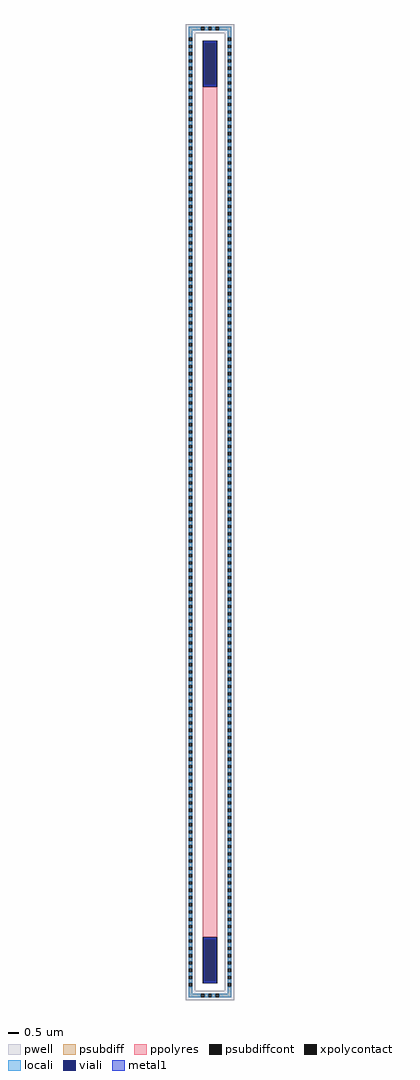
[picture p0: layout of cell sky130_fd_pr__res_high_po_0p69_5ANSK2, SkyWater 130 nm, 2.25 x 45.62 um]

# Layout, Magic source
magic
tech sky130A
magscale 1 2
<< pwell >>
rect -225 4476 225 4562
rect -225 -4476 -139 4476
rect 139 -4476 225 4476
rect -225 -4562 225 -4476
<< psubdiff >>
rect -199 4502 -85 4536
rect -51 4502 -17 4536
rect 17 4502 51 4536
rect 85 4502 199 4536
rect -199 4437 -165 4502
rect 165 4437 199 4502
rect -199 4369 -165 4403
rect -199 4301 -165 4335
rect -199 4233 -165 4267
rect -199 4165 -165 4199
rect -199 4097 -165 4131
rect -199 4029 -165 4063
rect -199 3961 -165 3995
rect -199 3893 -165 3927
rect -199 3825 -165 3859
rect -199 3757 -165 3791
rect -199 3689 -165 3723
rect -199 3621 -165 3655
rect -199 3553 -165 3587
rect -199 3485 -165 3519
rect -199 3417 -165 3451
rect -199 3349 -165 3383
rect -199 3281 -165 3315
rect -199 3213 -165 3247
rect -199 3145 -165 3179
rect -199 3077 -165 3111
rect -199 3009 -165 3043
rect -199 2941 -165 2975
rect -199 2873 -165 2907
rect -199 2805 -165 2839
rect -199 2737 -165 2771
rect -199 2669 -165 2703
rect -199 2601 -165 2635
rect -199 2533 -165 2567
rect -199 2465 -165 2499
rect -199 2397 -165 2431
rect -199 2329 -165 2363
rect -199 2261 -165 2295
rect -199 2193 -165 2227
rect -199 2125 -165 2159
rect -199 2057 -165 2091
rect -199 1989 -165 2023
rect -199 1921 -165 1955
rect -199 1853 -165 1887
rect -199 1785 -165 1819
rect -199 1717 -165 1751
rect -199 1649 -165 1683
rect -199 1581 -165 1615
rect -199 1513 -165 1547
rect -199 1445 -165 1479
rect -199 1377 -165 1411
rect -199 1309 -165 1343
rect -199 1241 -165 1275
rect -199 1173 -165 1207
rect -199 1105 -165 1139
rect -199 1037 -165 1071
rect -199 969 -165 1003
rect -199 901 -165 935
rect -199 833 -165 867
rect -199 765 -165 799
rect -199 697 -165 731
rect -199 629 -165 663
rect -199 561 -165 595
rect -199 493 -165 527
rect -199 425 -165 459
rect -199 357 -165 391
rect -199 289 -165 323
rect -199 221 -165 255
rect -199 153 -165 187
rect -199 85 -165 119
rect -199 17 -165 51
rect -199 -51 -165 -17
rect -199 -119 -165 -85
rect -199 -187 -165 -153
rect -199 -255 -165 -221
rect -199 -323 -165 -289
rect -199 -391 -165 -357
rect -199 -459 -165 -425
rect -199 -527 -165 -493
rect -199 -595 -165 -561
rect -199 -663 -165 -629
rect -199 -731 -165 -697
rect -199 -799 -165 -765
rect -199 -867 -165 -833
rect -199 -935 -165 -901
rect -199 -1003 -165 -969
rect -199 -1071 -165 -1037
rect -199 -1139 -165 -1105
rect -199 -1207 -165 -1173
rect -199 -1275 -165 -1241
rect -199 -1343 -165 -1309
rect -199 -1411 -165 -1377
rect -199 -1479 -165 -1445
rect -199 -1547 -165 -1513
rect -199 -1615 -165 -1581
rect -199 -1683 -165 -1649
rect -199 -1751 -165 -1717
rect -199 -1819 -165 -1785
rect -199 -1887 -165 -1853
rect -199 -1955 -165 -1921
rect -199 -2023 -165 -1989
rect -199 -2091 -165 -2057
rect -199 -2159 -165 -2125
rect -199 -2227 -165 -2193
rect -199 -2295 -165 -2261
rect -199 -2363 -165 -2329
rect -199 -2431 -165 -2397
rect -199 -2499 -165 -2465
rect -199 -2567 -165 -2533
rect -199 -2635 -165 -2601
rect -199 -2703 -165 -2669
rect -199 -2771 -165 -2737
rect -199 -2839 -165 -2805
rect -199 -2907 -165 -2873
rect -199 -2975 -165 -2941
rect -199 -3043 -165 -3009
rect -199 -3111 -165 -3077
rect -199 -3179 -165 -3145
rect -199 -3247 -165 -3213
rect -199 -3315 -165 -3281
rect -199 -3383 -165 -3349
rect -199 -3451 -165 -3417
rect -199 -3519 -165 -3485
rect -199 -3587 -165 -3553
rect -199 -3655 -165 -3621
rect -199 -3723 -165 -3689
rect -199 -3791 -165 -3757
rect -199 -3859 -165 -3825
rect -199 -3927 -165 -3893
rect -199 -3995 -165 -3961
rect -199 -4063 -165 -4029
rect -199 -4131 -165 -4097
rect -199 -4199 -165 -4165
rect -199 -4267 -165 -4233
rect -199 -4335 -165 -4301
rect -199 -4403 -165 -4369
rect 165 4369 199 4403
rect 165 4301 199 4335
rect 165 4233 199 4267
rect 165 4165 199 4199
rect 165 4097 199 4131
rect 165 4029 199 4063
rect 165 3961 199 3995
rect 165 3893 199 3927
rect 165 3825 199 3859
rect 165 3757 199 3791
rect 165 3689 199 3723
rect 165 3621 199 3655
rect 165 3553 199 3587
rect 165 3485 199 3519
rect 165 3417 199 3451
rect 165 3349 199 3383
rect 165 3281 199 3315
rect 165 3213 199 3247
rect 165 3145 199 3179
rect 165 3077 199 3111
rect 165 3009 199 3043
rect 165 2941 199 2975
rect 165 2873 199 2907
rect 165 2805 199 2839
rect 165 2737 199 2771
rect 165 2669 199 2703
rect 165 2601 199 2635
rect 165 2533 199 2567
rect 165 2465 199 2499
rect 165 2397 199 2431
rect 165 2329 199 2363
rect 165 2261 199 2295
rect 165 2193 199 2227
rect 165 2125 199 2159
rect 165 2057 199 2091
rect 165 1989 199 2023
rect 165 1921 199 1955
rect 165 1853 199 1887
rect 165 1785 199 1819
rect 165 1717 199 1751
rect 165 1649 199 1683
rect 165 1581 199 1615
rect 165 1513 199 1547
rect 165 1445 199 1479
rect 165 1377 199 1411
rect 165 1309 199 1343
rect 165 1241 199 1275
rect 165 1173 199 1207
rect 165 1105 199 1139
rect 165 1037 199 1071
rect 165 969 199 1003
rect 165 901 199 935
rect 165 833 199 867
rect 165 765 199 799
rect 165 697 199 731
rect 165 629 199 663
rect 165 561 199 595
rect 165 493 199 527
rect 165 425 199 459
rect 165 357 199 391
rect 165 289 199 323
rect 165 221 199 255
rect 165 153 199 187
rect 165 85 199 119
rect 165 17 199 51
rect 165 -51 199 -17
rect 165 -119 199 -85
rect 165 -187 199 -153
rect 165 -255 199 -221
rect 165 -323 199 -289
rect 165 -391 199 -357
rect 165 -459 199 -425
rect 165 -527 199 -493
rect 165 -595 199 -561
rect 165 -663 199 -629
rect 165 -731 199 -697
rect 165 -799 199 -765
rect 165 -867 199 -833
rect 165 -935 199 -901
rect 165 -1003 199 -969
rect 165 -1071 199 -1037
rect 165 -1139 199 -1105
rect 165 -1207 199 -1173
rect 165 -1275 199 -1241
rect 165 -1343 199 -1309
rect 165 -1411 199 -1377
rect 165 -1479 199 -1445
rect 165 -1547 199 -1513
rect 165 -1615 199 -1581
rect 165 -1683 199 -1649
rect 165 -1751 199 -1717
rect 165 -1819 199 -1785
rect 165 -1887 199 -1853
rect 165 -1955 199 -1921
rect 165 -2023 199 -1989
rect 165 -2091 199 -2057
rect 165 -2159 199 -2125
rect 165 -2227 199 -2193
rect 165 -2295 199 -2261
rect 165 -2363 199 -2329
rect 165 -2431 199 -2397
rect 165 -2499 199 -2465
rect 165 -2567 199 -2533
rect 165 -2635 199 -2601
rect 165 -2703 199 -2669
rect 165 -2771 199 -2737
rect 165 -2839 199 -2805
rect 165 -2907 199 -2873
rect 165 -2975 199 -2941
rect 165 -3043 199 -3009
rect 165 -3111 199 -3077
rect 165 -3179 199 -3145
rect 165 -3247 199 -3213
rect 165 -3315 199 -3281
rect 165 -3383 199 -3349
rect 165 -3451 199 -3417
rect 165 -3519 199 -3485
rect 165 -3587 199 -3553
rect 165 -3655 199 -3621
rect 165 -3723 199 -3689
rect 165 -3791 199 -3757
rect 165 -3859 199 -3825
rect 165 -3927 199 -3893
rect 165 -3995 199 -3961
rect 165 -4063 199 -4029
rect 165 -4131 199 -4097
rect 165 -4199 199 -4165
rect 165 -4267 199 -4233
rect 165 -4335 199 -4301
rect 165 -4403 199 -4369
rect -199 -4502 -165 -4437
rect 165 -4502 199 -4437
rect -199 -4536 -85 -4502
rect -51 -4536 -17 -4502
rect 17 -4536 51 -4502
rect 85 -4536 199 -4502
<< psubdiffcont >>
rect -85 4502 -51 4536
rect -17 4502 17 4536
rect 51 4502 85 4536
rect -199 4403 -165 4437
rect -199 4335 -165 4369
rect -199 4267 -165 4301
rect -199 4199 -165 4233
rect -199 4131 -165 4165
rect -199 4063 -165 4097
rect -199 3995 -165 4029
rect -199 3927 -165 3961
rect -199 3859 -165 3893
rect -199 3791 -165 3825
rect -199 3723 -165 3757
rect -199 3655 -165 3689
rect -199 3587 -165 3621
rect -199 3519 -165 3553
rect -199 3451 -165 3485
rect -199 3383 -165 3417
rect -199 3315 -165 3349
rect -199 3247 -165 3281
rect -199 3179 -165 3213
rect -199 3111 -165 3145
rect -199 3043 -165 3077
rect -199 2975 -165 3009
rect -199 2907 -165 2941
rect -199 2839 -165 2873
rect -199 2771 -165 2805
rect -199 2703 -165 2737
rect -199 2635 -165 2669
rect -199 2567 -165 2601
rect -199 2499 -165 2533
rect -199 2431 -165 2465
rect -199 2363 -165 2397
rect -199 2295 -165 2329
rect -199 2227 -165 2261
rect -199 2159 -165 2193
rect -199 2091 -165 2125
rect -199 2023 -165 2057
rect -199 1955 -165 1989
rect -199 1887 -165 1921
rect -199 1819 -165 1853
rect -199 1751 -165 1785
rect -199 1683 -165 1717
rect -199 1615 -165 1649
rect -199 1547 -165 1581
rect -199 1479 -165 1513
rect -199 1411 -165 1445
rect -199 1343 -165 1377
rect -199 1275 -165 1309
rect -199 1207 -165 1241
rect -199 1139 -165 1173
rect -199 1071 -165 1105
rect -199 1003 -165 1037
rect -199 935 -165 969
rect -199 867 -165 901
rect -199 799 -165 833
rect -199 731 -165 765
rect -199 663 -165 697
rect -199 595 -165 629
rect -199 527 -165 561
rect -199 459 -165 493
rect -199 391 -165 425
rect -199 323 -165 357
rect -199 255 -165 289
rect -199 187 -165 221
rect -199 119 -165 153
rect -199 51 -165 85
rect -199 -17 -165 17
rect -199 -85 -165 -51
rect -199 -153 -165 -119
rect -199 -221 -165 -187
rect -199 -289 -165 -255
rect -199 -357 -165 -323
rect -199 -425 -165 -391
rect -199 -493 -165 -459
rect -199 -561 -165 -527
rect -199 -629 -165 -595
rect -199 -697 -165 -663
rect -199 -765 -165 -731
rect -199 -833 -165 -799
rect -199 -901 -165 -867
rect -199 -969 -165 -935
rect -199 -1037 -165 -1003
rect -199 -1105 -165 -1071
rect -199 -1173 -165 -1139
rect -199 -1241 -165 -1207
rect -199 -1309 -165 -1275
rect -199 -1377 -165 -1343
rect -199 -1445 -165 -1411
rect -199 -1513 -165 -1479
rect -199 -1581 -165 -1547
rect -199 -1649 -165 -1615
rect -199 -1717 -165 -1683
rect -199 -1785 -165 -1751
rect -199 -1853 -165 -1819
rect -199 -1921 -165 -1887
rect -199 -1989 -165 -1955
rect -199 -2057 -165 -2023
rect -199 -2125 -165 -2091
rect -199 -2193 -165 -2159
rect -199 -2261 -165 -2227
rect -199 -2329 -165 -2295
rect -199 -2397 -165 -2363
rect -199 -2465 -165 -2431
rect -199 -2533 -165 -2499
rect -199 -2601 -165 -2567
rect -199 -2669 -165 -2635
rect -199 -2737 -165 -2703
rect -199 -2805 -165 -2771
rect -199 -2873 -165 -2839
rect -199 -2941 -165 -2907
rect -199 -3009 -165 -2975
rect -199 -3077 -165 -3043
rect -199 -3145 -165 -3111
rect -199 -3213 -165 -3179
rect -199 -3281 -165 -3247
rect -199 -3349 -165 -3315
rect -199 -3417 -165 -3383
rect -199 -3485 -165 -3451
rect -199 -3553 -165 -3519
rect -199 -3621 -165 -3587
rect -199 -3689 -165 -3655
rect -199 -3757 -165 -3723
rect -199 -3825 -165 -3791
rect -199 -3893 -165 -3859
rect -199 -3961 -165 -3927
rect -199 -4029 -165 -3995
rect -199 -4097 -165 -4063
rect -199 -4165 -165 -4131
rect -199 -4233 -165 -4199
rect -199 -4301 -165 -4267
rect -199 -4369 -165 -4335
rect -199 -4437 -165 -4403
rect 165 4403 199 4437
rect 165 4335 199 4369
rect 165 4267 199 4301
rect 165 4199 199 4233
rect 165 4131 199 4165
rect 165 4063 199 4097
rect 165 3995 199 4029
rect 165 3927 199 3961
rect 165 3859 199 3893
rect 165 3791 199 3825
rect 165 3723 199 3757
rect 165 3655 199 3689
rect 165 3587 199 3621
rect 165 3519 199 3553
rect 165 3451 199 3485
rect 165 3383 199 3417
rect 165 3315 199 3349
rect 165 3247 199 3281
rect 165 3179 199 3213
rect 165 3111 199 3145
rect 165 3043 199 3077
rect 165 2975 199 3009
rect 165 2907 199 2941
rect 165 2839 199 2873
rect 165 2771 199 2805
rect 165 2703 199 2737
rect 165 2635 199 2669
rect 165 2567 199 2601
rect 165 2499 199 2533
rect 165 2431 199 2465
rect 165 2363 199 2397
rect 165 2295 199 2329
rect 165 2227 199 2261
rect 165 2159 199 2193
rect 165 2091 199 2125
rect 165 2023 199 2057
rect 165 1955 199 1989
rect 165 1887 199 1921
rect 165 1819 199 1853
rect 165 1751 199 1785
rect 165 1683 199 1717
rect 165 1615 199 1649
rect 165 1547 199 1581
rect 165 1479 199 1513
rect 165 1411 199 1445
rect 165 1343 199 1377
rect 165 1275 199 1309
rect 165 1207 199 1241
rect 165 1139 199 1173
rect 165 1071 199 1105
rect 165 1003 199 1037
rect 165 935 199 969
rect 165 867 199 901
rect 165 799 199 833
rect 165 731 199 765
rect 165 663 199 697
rect 165 595 199 629
rect 165 527 199 561
rect 165 459 199 493
rect 165 391 199 425
rect 165 323 199 357
rect 165 255 199 289
rect 165 187 199 221
rect 165 119 199 153
rect 165 51 199 85
rect 165 -17 199 17
rect 165 -85 199 -51
rect 165 -153 199 -119
rect 165 -221 199 -187
rect 165 -289 199 -255
rect 165 -357 199 -323
rect 165 -425 199 -391
rect 165 -493 199 -459
rect 165 -561 199 -527
rect 165 -629 199 -595
rect 165 -697 199 -663
rect 165 -765 199 -731
rect 165 -833 199 -799
rect 165 -901 199 -867
rect 165 -969 199 -935
rect 165 -1037 199 -1003
rect 165 -1105 199 -1071
rect 165 -1173 199 -1139
rect 165 -1241 199 -1207
rect 165 -1309 199 -1275
rect 165 -1377 199 -1343
rect 165 -1445 199 -1411
rect 165 -1513 199 -1479
rect 165 -1581 199 -1547
rect 165 -1649 199 -1615
rect 165 -1717 199 -1683
rect 165 -1785 199 -1751
rect 165 -1853 199 -1819
rect 165 -1921 199 -1887
rect 165 -1989 199 -1955
rect 165 -2057 199 -2023
rect 165 -2125 199 -2091
rect 165 -2193 199 -2159
rect 165 -2261 199 -2227
rect 165 -2329 199 -2295
rect 165 -2397 199 -2363
rect 165 -2465 199 -2431
rect 165 -2533 199 -2499
rect 165 -2601 199 -2567
rect 165 -2669 199 -2635
rect 165 -2737 199 -2703
rect 165 -2805 199 -2771
rect 165 -2873 199 -2839
rect 165 -2941 199 -2907
rect 165 -3009 199 -2975
rect 165 -3077 199 -3043
rect 165 -3145 199 -3111
rect 165 -3213 199 -3179
rect 165 -3281 199 -3247
rect 165 -3349 199 -3315
rect 165 -3417 199 -3383
rect 165 -3485 199 -3451
rect 165 -3553 199 -3519
rect 165 -3621 199 -3587
rect 165 -3689 199 -3655
rect 165 -3757 199 -3723
rect 165 -3825 199 -3791
rect 165 -3893 199 -3859
rect 165 -3961 199 -3927
rect 165 -4029 199 -3995
rect 165 -4097 199 -4063
rect 165 -4165 199 -4131
rect 165 -4233 199 -4199
rect 165 -4301 199 -4267
rect 165 -4369 199 -4335
rect 165 -4437 199 -4403
rect -85 -4536 -51 -4502
rect -17 -4536 17 -4502
rect 51 -4536 85 -4502
<< xpolycontact >>
rect -69 3974 69 4406
rect -69 -4406 69 -3974
<< ppolyres >>
rect -69 -3974 69 3974
<< locali >>
rect -199 4502 -85 4536
rect -51 4502 -17 4536
rect 17 4502 51 4536
rect 85 4502 199 4536
rect -199 4437 -165 4502
rect 165 4437 199 4502
rect -199 4369 -165 4403
rect -199 4301 -165 4335
rect -199 4233 -165 4267
rect -199 4165 -165 4199
rect -199 4097 -165 4131
rect -199 4029 -165 4063
rect -199 3961 -165 3995
rect 165 4369 199 4403
rect 165 4301 199 4335
rect 165 4233 199 4267
rect 165 4165 199 4199
rect 165 4097 199 4131
rect 165 4029 199 4063
rect -199 3893 -165 3927
rect -199 3825 -165 3859
rect -199 3757 -165 3791
rect -199 3689 -165 3723
rect -199 3621 -165 3655
rect -199 3553 -165 3587
rect -199 3485 -165 3519
rect -199 3417 -165 3451
rect -199 3349 -165 3383
rect -199 3281 -165 3315
rect -199 3213 -165 3247
rect -199 3145 -165 3179
rect -199 3077 -165 3111
rect -199 3009 -165 3043
rect -199 2941 -165 2975
rect -199 2873 -165 2907
rect -199 2805 -165 2839
rect -199 2737 -165 2771
rect -199 2669 -165 2703
rect -199 2601 -165 2635
rect -199 2533 -165 2567
rect -199 2465 -165 2499
rect -199 2397 -165 2431
rect -199 2329 -165 2363
rect -199 2261 -165 2295
rect -199 2193 -165 2227
rect -199 2125 -165 2159
rect -199 2057 -165 2091
rect -199 1989 -165 2023
rect -199 1921 -165 1955
rect -199 1853 -165 1887
rect -199 1785 -165 1819
rect -199 1717 -165 1751
rect -199 1649 -165 1683
rect -199 1581 -165 1615
rect -199 1513 -165 1547
rect -199 1445 -165 1479
rect -199 1377 -165 1411
rect -199 1309 -165 1343
rect -199 1241 -165 1275
rect -199 1173 -165 1207
rect -199 1105 -165 1139
rect -199 1037 -165 1071
rect -199 969 -165 1003
rect -199 901 -165 935
rect -199 833 -165 867
rect -199 765 -165 799
rect -199 697 -165 731
rect -199 629 -165 663
rect -199 561 -165 595
rect -199 493 -165 527
rect -199 425 -165 459
rect -199 357 -165 391
rect -199 289 -165 323
rect -199 221 -165 255
rect -199 153 -165 187
rect -199 85 -165 119
rect -199 17 -165 51
rect -199 -51 -165 -17
rect -199 -119 -165 -85
rect -199 -187 -165 -153
rect -199 -255 -165 -221
rect -199 -323 -165 -289
rect -199 -391 -165 -357
rect -199 -459 -165 -425
rect -199 -527 -165 -493
rect -199 -595 -165 -561
rect -199 -663 -165 -629
rect -199 -731 -165 -697
rect -199 -799 -165 -765
rect -199 -867 -165 -833
rect -199 -935 -165 -901
rect -199 -1003 -165 -969
rect -199 -1071 -165 -1037
rect -199 -1139 -165 -1105
rect -199 -1207 -165 -1173
rect -199 -1275 -165 -1241
rect -199 -1343 -165 -1309
rect -199 -1411 -165 -1377
rect -199 -1479 -165 -1445
rect -199 -1547 -165 -1513
rect -199 -1615 -165 -1581
rect -199 -1683 -165 -1649
rect -199 -1751 -165 -1717
rect -199 -1819 -165 -1785
rect -199 -1887 -165 -1853
rect -199 -1955 -165 -1921
rect -199 -2023 -165 -1989
rect -199 -2091 -165 -2057
rect -199 -2159 -165 -2125
rect -199 -2227 -165 -2193
rect -199 -2295 -165 -2261
rect -199 -2363 -165 -2329
rect -199 -2431 -165 -2397
rect -199 -2499 -165 -2465
rect -199 -2567 -165 -2533
rect -199 -2635 -165 -2601
rect -199 -2703 -165 -2669
rect -199 -2771 -165 -2737
rect -199 -2839 -165 -2805
rect -199 -2907 -165 -2873
rect -199 -2975 -165 -2941
rect -199 -3043 -165 -3009
rect -199 -3111 -165 -3077
rect -199 -3179 -165 -3145
rect -199 -3247 -165 -3213
rect -199 -3315 -165 -3281
rect -199 -3383 -165 -3349
rect -199 -3451 -165 -3417
rect -199 -3519 -165 -3485
rect -199 -3587 -165 -3553
rect -199 -3655 -165 -3621
rect -199 -3723 -165 -3689
rect -199 -3791 -165 -3757
rect -199 -3859 -165 -3825
rect -199 -3927 -165 -3893
rect -199 -3995 -165 -3961
rect 165 3961 199 3995
rect 165 3893 199 3927
rect 165 3825 199 3859
rect 165 3757 199 3791
rect 165 3689 199 3723
rect 165 3621 199 3655
rect 165 3553 199 3587
rect 165 3485 199 3519
rect 165 3417 199 3451
rect 165 3349 199 3383
rect 165 3281 199 3315
rect 165 3213 199 3247
rect 165 3145 199 3179
rect 165 3077 199 3111
rect 165 3009 199 3043
rect 165 2941 199 2975
rect 165 2873 199 2907
rect 165 2805 199 2839
rect 165 2737 199 2771
rect 165 2669 199 2703
rect 165 2601 199 2635
rect 165 2533 199 2567
rect 165 2465 199 2499
rect 165 2397 199 2431
rect 165 2329 199 2363
rect 165 2261 199 2295
rect 165 2193 199 2227
rect 165 2125 199 2159
rect 165 2057 199 2091
rect 165 1989 199 2023
rect 165 1921 199 1955
rect 165 1853 199 1887
rect 165 1785 199 1819
rect 165 1717 199 1751
rect 165 1649 199 1683
rect 165 1581 199 1615
rect 165 1513 199 1547
rect 165 1445 199 1479
rect 165 1377 199 1411
rect 165 1309 199 1343
rect 165 1241 199 1275
rect 165 1173 199 1207
rect 165 1105 199 1139
rect 165 1037 199 1071
rect 165 969 199 1003
rect 165 901 199 935
rect 165 833 199 867
rect 165 765 199 799
rect 165 697 199 731
rect 165 629 199 663
rect 165 561 199 595
rect 165 493 199 527
rect 165 425 199 459
rect 165 357 199 391
rect 165 289 199 323
rect 165 221 199 255
rect 165 153 199 187
rect 165 85 199 119
rect 165 17 199 51
rect 165 -51 199 -17
rect 165 -119 199 -85
rect 165 -187 199 -153
rect 165 -255 199 -221
rect 165 -323 199 -289
rect 165 -391 199 -357
rect 165 -459 199 -425
rect 165 -527 199 -493
rect 165 -595 199 -561
rect 165 -663 199 -629
rect 165 -731 199 -697
rect 165 -799 199 -765
rect 165 -867 199 -833
rect 165 -935 199 -901
rect 165 -1003 199 -969
rect 165 -1071 199 -1037
rect 165 -1139 199 -1105
rect 165 -1207 199 -1173
rect 165 -1275 199 -1241
rect 165 -1343 199 -1309
rect 165 -1411 199 -1377
rect 165 -1479 199 -1445
rect 165 -1547 199 -1513
rect 165 -1615 199 -1581
rect 165 -1683 199 -1649
rect 165 -1751 199 -1717
rect 165 -1819 199 -1785
rect 165 -1887 199 -1853
rect 165 -1955 199 -1921
rect 165 -2023 199 -1989
rect 165 -2091 199 -2057
rect 165 -2159 199 -2125
rect 165 -2227 199 -2193
rect 165 -2295 199 -2261
rect 165 -2363 199 -2329
rect 165 -2431 199 -2397
rect 165 -2499 199 -2465
rect 165 -2567 199 -2533
rect 165 -2635 199 -2601
rect 165 -2703 199 -2669
rect 165 -2771 199 -2737
rect 165 -2839 199 -2805
rect 165 -2907 199 -2873
rect 165 -2975 199 -2941
rect 165 -3043 199 -3009
rect 165 -3111 199 -3077
rect 165 -3179 199 -3145
rect 165 -3247 199 -3213
rect 165 -3315 199 -3281
rect 165 -3383 199 -3349
rect 165 -3451 199 -3417
rect 165 -3519 199 -3485
rect 165 -3587 199 -3553
rect 165 -3655 199 -3621
rect 165 -3723 199 -3689
rect 165 -3791 199 -3757
rect 165 -3859 199 -3825
rect 165 -3927 199 -3893
rect -199 -4063 -165 -4029
rect -199 -4131 -165 -4097
rect -199 -4199 -165 -4165
rect -199 -4267 -165 -4233
rect -199 -4335 -165 -4301
rect -199 -4403 -165 -4369
rect 165 -3995 199 -3961
rect 165 -4063 199 -4029
rect 165 -4131 199 -4097
rect 165 -4199 199 -4165
rect 165 -4267 199 -4233
rect 165 -4335 199 -4301
rect 165 -4403 199 -4369
rect -199 -4502 -165 -4437
rect 165 -4502 199 -4437
rect -199 -4536 -85 -4502
rect -51 -4536 -17 -4502
rect 17 -4536 51 -4502
rect 85 -4536 199 -4502
<< viali >>
rect -53 3992 53 4386
rect -53 -4387 53 -3993
<< metal1 >>
rect -59 4386 59 4400
rect -59 3992 -53 4386
rect 53 3992 59 4386
rect -59 3979 59 3992
rect -59 -3993 59 -3979
rect -59 -4387 -53 -3993
rect 53 -4387 59 -3993
rect -59 -4400 59 -4387
<< properties >>
string FIXED_BBOX -182 -4519 182 4519
string GDS_END 32492
string GDS_FILE /home/anton/projects/tt06-grab-bag/gds/tt_um_algofoogle_tt06_grab_bag.gds
string GDS_START 12520
<< end >>
